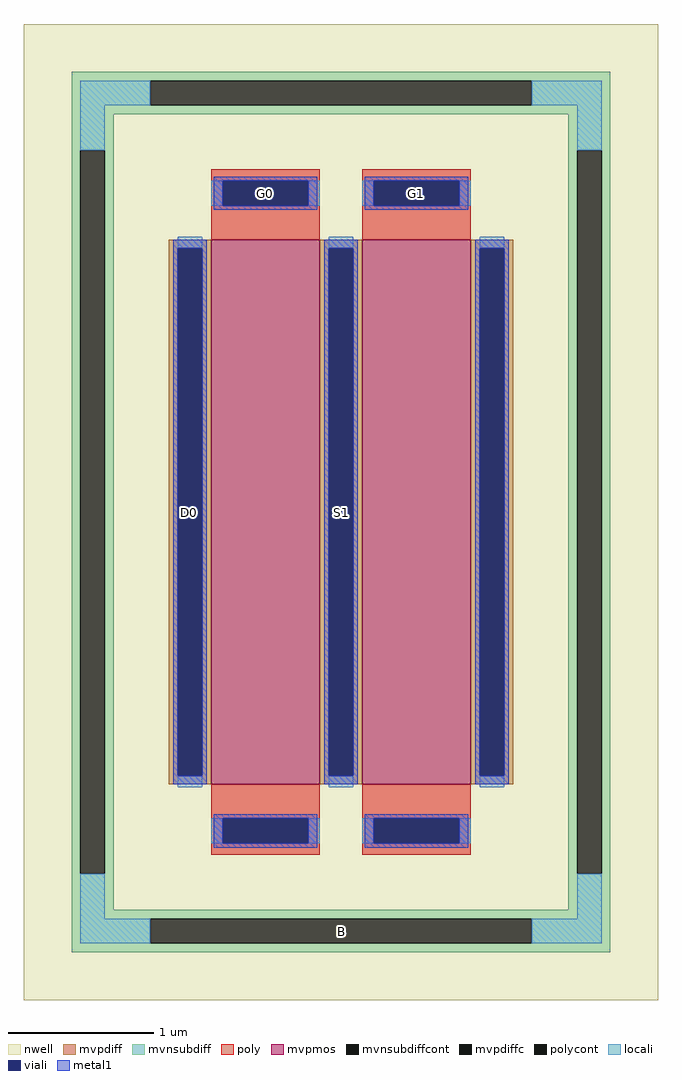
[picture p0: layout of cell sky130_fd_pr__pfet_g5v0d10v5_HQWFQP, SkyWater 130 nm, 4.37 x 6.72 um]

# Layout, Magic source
magic
tech sky130A
magscale 1 2
<< nwell >>
rect -437 -672 437 672
<< mvpmos >>
rect -179 -375 -29 375
rect 29 -375 179 375
<< mvpdiff >>
rect -237 363 -179 375
rect -237 -363 -225 363
rect -191 -363 -179 363
rect -237 -375 -179 -363
rect -29 363 29 375
rect -29 -363 -17 363
rect 17 -363 29 363
rect -29 -375 29 -363
rect 179 363 237 375
rect 179 -363 191 363
rect 225 -363 237 363
rect 179 -375 237 -363
<< mvpdiffc >>
rect -225 -363 -191 363
rect -17 -363 17 363
rect 191 -363 225 363
<< mvnsubdiff >>
rect -371 594 371 606
rect -371 560 -263 594
rect 263 560 371 594
rect -371 548 371 560
rect -371 498 -313 548
rect -371 -498 -359 498
rect -325 -498 -313 498
rect 313 498 371 548
rect -371 -548 -313 -498
rect 313 -498 325 498
rect 359 -498 371 498
rect 313 -548 371 -498
rect -371 -560 371 -548
rect -371 -594 -263 -560
rect 263 -594 371 -560
rect -371 -606 371 -594
<< mvnsubdiffcont >>
rect -263 560 263 594
rect -359 -498 -325 498
rect 325 -498 359 498
rect -263 -594 263 -560
<< poly >>
rect -179 456 -29 472
rect -179 422 -163 456
rect -45 422 -29 456
rect -179 375 -29 422
rect 29 456 179 472
rect 29 422 45 456
rect 163 422 179 456
rect 29 375 179 422
rect -179 -422 -29 -375
rect -179 -456 -163 -422
rect -45 -456 -29 -422
rect -179 -472 -29 -456
rect 29 -422 179 -375
rect 29 -456 45 -422
rect 163 -456 179 -422
rect 29 -472 179 -456
<< polycont >>
rect -163 422 -45 456
rect 45 422 163 456
rect -163 -456 -45 -422
rect 45 -456 163 -422
<< locali >>
rect -359 560 -263 594
rect 263 560 359 594
rect -359 498 -325 560
rect 325 498 359 560
rect -179 422 -163 456
rect -45 422 -29 456
rect 29 422 45 456
rect 163 422 179 456
rect -225 363 -191 379
rect -225 -379 -191 -363
rect -17 363 17 379
rect -17 -379 17 -363
rect 191 363 225 379
rect 191 -379 225 -363
rect -179 -456 -163 -422
rect -45 -456 -29 -422
rect 29 -456 45 -422
rect 163 -456 179 -422
rect -359 -560 -325 -498
rect 325 -560 359 -498
rect -359 -594 -263 -560
rect 263 -594 359 -560
<< viali >>
rect -163 422 -45 456
rect 45 422 163 456
rect -225 -363 -191 363
rect -17 -363 17 363
rect 191 -363 225 363
rect -163 -456 -45 -422
rect 45 -456 163 -422
<< metal1 >>
rect -175 456 -33 462
rect -175 422 -163 456
rect -45 422 -33 456
rect -175 416 -33 422
rect 33 456 175 462
rect 33 422 45 456
rect 163 422 175 456
rect 33 416 175 422
rect -231 363 -185 375
rect -231 -363 -225 363
rect -191 -363 -185 363
rect -231 -375 -185 -363
rect -23 363 23 375
rect -23 -363 -17 363
rect 17 -363 23 363
rect -23 -375 23 -363
rect 185 363 231 375
rect 185 -363 191 363
rect 225 -363 231 363
rect 185 -375 231 -363
rect -175 -422 -33 -416
rect -175 -456 -163 -422
rect -45 -456 -33 -422
rect -175 -462 -33 -456
rect 33 -422 175 -416
rect 33 -456 45 -422
rect 163 -456 175 -422
rect 33 -462 175 -456
<< labels >>
rlabel mvnsubdiffcont 0 -577 0 -577 0 B
port 86 nsew
rlabel mvpdiffc -208 0 -208 0 0 D0
port 87 nsew
rlabel polycont -104 439 -104 439 0 G0
port 88 nsew
rlabel mvpdiffc 0 0 0 0 0 S1
port 89 nsew
rlabel polycont 104 439 104 439 0 G1
port 90 nsew
<< properties >>
string FIXED_BBOX -342 -577 342 577
string gencell sky130_fd_pr__pfet_g5v0d10v5
string library sky130
string parameters w 3.75 l 0.75 m 1 nf 2 diffcov 100 polycov 100 guard 1 glc 1 grc 1 gtc 1 gbc 1 tbcov 100 rlcov 100 topc 1 botc 1 poverlap 0 doverlap 1 lmin 0.50 wmin 0.42 class mosfet compatible {sky130_fd_pr__pfet_01v8  sky130_fd_pr__pfet_01v8_lvt sky130_fd_pr__pfet_01v8_hvt  sky130_fd_pr__pfet_g5v0d10v5} full_metal 1 conn_gates 0 viasrc 100 viadrn 100 viagate 100 viagb 0 viagr 0 viagl 0 viagt 0 doports 1
<< end >>
